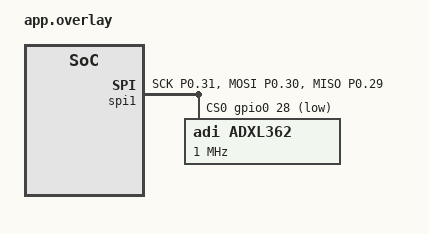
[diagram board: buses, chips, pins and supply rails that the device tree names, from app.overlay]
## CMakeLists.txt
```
cmake_minimum_required(VERSION 3.20.0)
find_package(Zephyr REQUIRED HINTS $ENV{ZEPHYR_BASE})
project(adxl362_capture)
target_sources(app PRIVATE src/main.c)
```

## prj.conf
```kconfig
CONFIG_SENSOR=y
CONFIG_SPI=y
CONFIG_GPIO=y
CONFIG_SERIAL=y
CONFIG_CONSOLE=y
CONFIG_UART_CONSOLE=y
CONFIG_PRINTK=y
CONFIG_CBPRINTF_FP_SUPPORT=y
CONFIG_ADXL362=y
CONFIG_MAIN_STACK_SIZE=2048
```

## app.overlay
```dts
#include <zephyr/dt-bindings/pinctrl/nrf-pinctrl.h>

&pinctrl {
    spi1_default_alt: spi1_default_alt {
        group1 {
            psels = <NRF_PSEL(SPIM_SCK, 0, 31)>,
                    <NRF_PSEL(SPIM_MOSI, 0, 30)>,
                    <NRF_PSEL(SPIM_MISO, 0, 29)>;
        };
    };

    spi1_sleep_alt: spi1_sleep_alt {
        group1 {
            psels = <NRF_PSEL(SPIM_SCK, 0, 31)>,
                    <NRF_PSEL(SPIM_MOSI, 0, 30)>,
                    <NRF_PSEL(SPIM_MISO, 0, 29)>;
            low-power-enable;
        };
    };
};

&spi1 {
    compatible = "nordic,nrf-spim";
    status = "okay";
    pinctrl-0 = <&spi1_default_alt>;
    pinctrl-1 = <&spi1_sleep_alt>;
    pinctrl-names = "default", "sleep";
    cs-gpios = <&gpio0 28 GPIO_ACTIVE_LOW>;

    adxl362: accelerometer@0 {
        compatible = "adi,adxl362";
        reg = <0>;
        spi-max-frequency = <1000000>;
        status = "okay";
    };
};
```

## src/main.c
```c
#include <math.h>
#include <stdio.h>
#include <zephyr/device.h>
#include <zephyr/devicetree.h>
#include <zephyr/drivers/gpio.h>
#include <zephyr/drivers/sensor.h>
#include <zephyr/kernel.h>
#include <zephyr/sys/printk.h>

#define GRAVITY_M_S2 9.80665
#define SENSOR_ODR_HZ_INT 12
#define SENSOR_ODR_HZ_MICRO 500000
#define SAMPLE_INTERVAL_MS 80
#define SETTLING_SECONDS 3
#define SAMPLES_PER_CAPTURE 1000

static const struct device *const accelerometer =
    DEVICE_DT_GET(DT_NODELABEL(adxl362));
static const struct gpio_dt_spec button = GPIO_DT_SPEC_GET(DT_ALIAS(sw0), gpios);
static const char *const orientations[] = { "+X", "-X", "+Y", "-Y", "+Z", "-Z" };

static double to_g(const struct sensor_value *value)
{
    return sensor_value_to_double(value) / GRAVITY_M_S2;
}

static void wait_for_button(void)
{
    while (gpio_pin_get_dt(&button) == 0) {
        k_msleep(20);
    }
    k_msleep(40);
    while (gpio_pin_get_dt(&button) != 0) {
        k_msleep(20);
    }
    k_msleep(200);
}

int main(void)
{
    struct sensor_value accel[3];
    const struct sensor_value odr = {
        .val1 = SENSOR_ODR_HZ_INT,
        .val2 = SENSOR_ODR_HZ_MICRO,
    };

    printk("# ADXL362 six-position capture\n");

    if (!device_is_ready(accelerometer)) {
        printk("# ERROR: ADXL362 is not ready. Check 3V3, GND, SCLK, MOSI, MISO and CS.\n");
        return 0;
    }

    int rc = sensor_attr_set(accelerometer, SENSOR_CHAN_ACCEL_XYZ,
                             SENSOR_ATTR_SAMPLING_FREQUENCY, &odr);
    if (rc != 0) {
        printk("# ERROR: failed to configure ADXL362 ODR: %d\n", rc);
        return 0;
    }
    if (!gpio_is_ready_dt(&button) || gpio_pin_configure_dt(&button, GPIO_INPUT) != 0) {
        printk("# ERROR: DK Button 1 is not ready.\n");
        return 0;
    }

    printk("# Sensor ready. CSV data begins below.\n");
    printk("# ADXL362 ODR: 12.5 Hz; CSV collection rate: 12.5 Hz; samples per pose: %d\n",
           SAMPLES_PER_CAPTURE);
    printk("orientation,time_ms,x,y,z,magnitude\n");

    for (size_t pose = 0; pose < ARRAY_SIZE(orientations); pose++) {
        printk("# Place the board in %s orientation, keep it stable, then press Button 1.\n",
               orientations[pose]);
        wait_for_button();

        for (int seconds = SETTLING_SECONDS; seconds > 0; seconds--) {
            printk("# Settling: %d\n", seconds);
            k_sleep(K_SECONDS(1));
        }

        printk("# Recording %s: %d samples at 12.5 Hz (80 seconds). Do not touch the board.\n",
               orientations[pose], SAMPLES_PER_CAPTURE);

        int64_t next_sample_ms = k_uptime_get();
        for (int sample = 0; sample < SAMPLES_PER_CAPTURE; sample++) {
            rc = sensor_sample_fetch(accelerometer);
            if (rc == 0) {
                rc = sensor_channel_get(accelerometer, SENSOR_CHAN_ACCEL_XYZ, accel);
            }
            if (rc != 0) {
                printk("# ERROR: sensor read failed: %d\n", rc);
            } else {
                double x = to_g(&accel[0]);
                double y = to_g(&accel[1]);
                double z = to_g(&accel[2]);
                double magnitude = sqrt(x * x + y * y + z * z);

                printk("%s,%lld,%.6f,%.6f,%.6f,%.6f\n",
                       orientations[pose], k_uptime_get(), x, y, z, magnitude);
            }

            next_sample_ms += SAMPLE_INTERVAL_MS;
            int64_t remaining_ms = next_sample_ms - k_uptime_get();
            if (remaining_ms > 0) {
                k_msleep((int32_t)remaining_ms);
            }
        }
        printk("# Completed %s.\n", orientations[pose]);
    }

    printk("# ALL SIX POSITIONS COMPLETE. Save the terminal output as hardware_capture.csv\n");
    while (true) {
        k_sleep(K_SECONDS(1));
    }
    return 0;
}
```
